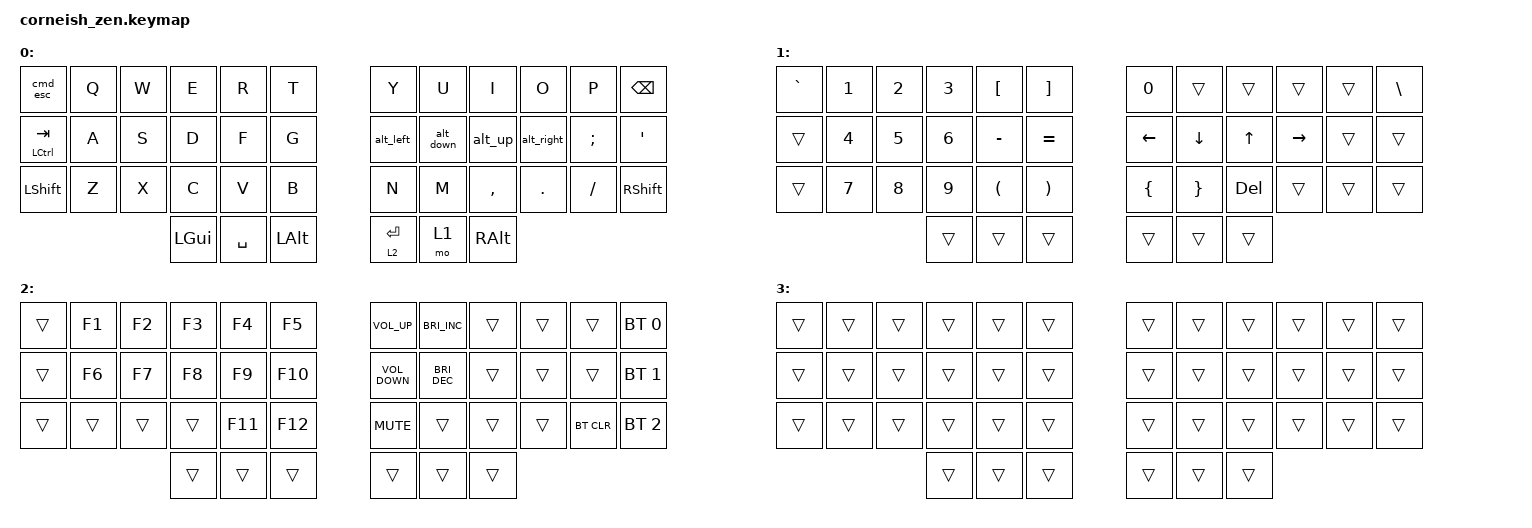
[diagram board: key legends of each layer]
/*
 * Copyright (c) 2020 The ZMK Contributors
 *
 * SPDX-License-Identifier: MIT
 */

#include <behaviors.dtsi>
#include <dt-bindings/zmk/bt.h>
#include <dt-bindings/zmk/keys.h>

/ {
    chosen {
        zmk,matrix_transform = &default_transform;

        // zmk,matrix_transform = &five_column_transform;
    };
};

/ {
    behaviors {
        alt_left: alt_left {
            compatible = "zmk,behavior-mod-morph";
            label = "ALT_LEFT";
            bindings = <&kp H>, <&kp LEFT>;

            #binding-cells = <0>;
            mods = <(MOD_RALT)>;
            keep-mods = <(MOD_RALT)>;
        };

        alt_right: alt_right {
            compatible = "zmk,behavior-mod-morph";
            label = "ALT_RIGHT";
            bindings = <&kp L>, <&kp RIGHT>;

            #binding-cells = <0>;
            mods = <(MOD_RALT)>;
            keep-mods = <(MOD_RALT)>;
        };

        alt_down: alt_down {
            compatible = "zmk,behavior-mod-morph";
            label = "ALT_DOWN";
            bindings = <&kp J>, <&kp DOWN>;

            #binding-cells = <0>;
            mods = <(MOD_RALT)>;
            keep-mods = <(MOD_RALT)>;
        };

        alt_up: alt_up {
            compatible = "zmk,behavior-mod-morph";
            label = "ALT_UP";
            bindings = <&kp K>, <&kp UP_ARROW>;

            #binding-cells = <0>;
            mods = <(MOD_RALT)>;
            keep-mods = <(MOD_RALT)>;
        };

        cmd_esc: cmd_esc {
            compatible = "zmk,behavior-mod-morph";
            label = "CMD_ESC";
            bindings = <&kp ESCAPE>, <&kp GRAVE>;

            #binding-cells = <0>;
            mods = <(MOD_LGUI)>;
            keep-mods = <(MOD_LGUI)>;
        };
    };

    keymap {
        compatible = "zmk,keymap";

        default_layer {
            display-name = " ";

            // -----------------------------------------------------------------------------------------
            // |  TAB |  Q  |  W  |  E  |  R  |  T  |   |  Y  |  U   |  I  |  O  |  P  | BKSP |
            // | CTRL |  A  |  S  |  D  |  F  |  G  |   |  H  |  J   |  K  |  L  |  ;  |  '   |
            // | SHFT |  Z  |  X  |  C  |  V  |  B  |   |  N  |  M   |  ,  |  .  |  /  | ESC  |
            //                    | GUI | LWR | SPC |   | ENT | RSE  | ALT |

            bindings = <
&cmd_esc       &kp Q  &kp W  &kp E     &kp R      &kp T           &kp Y        &kp U      &kp I      &kp O       &kp P     &kp BSPC
&mt LCTRL TAB  &kp A  &kp S  &kp D     &kp F      &kp G           &alt_left    &alt_down  &alt_up    &alt_right  &kp SEMI  &kp SQT
&kp LSHFT      &kp Z  &kp X  &kp C     &kp V      &kp B           &kp N        &kp M      &kp COMMA  &kp DOT     &kp FSLH  &kp RIGHT_SHIFT
                             &kp LGUI  &kp SPACE  &kp LEFT_ALT    &lt 2 ENTER  &mo 1      &kp RALT
            >;
        };

        lower_layer {
            display-name = " ";

            // -----------------------------------------------------------------------------------------
            // |  TAB |  1  |  2  |  3  |  4  |  5  |   |  6  |  7  |  8  |  9  |  0  | BKSP |
            // | BTCLR| BT1 | BT2 | BT3 | BT4 | BT5 |   | LFT | DWN |  UP | RGT |     |      |
            // | SHFT |     |     |     |     |     |   |     |     |     |     |     |      |
            //                    | GUI |     | SPC |   | ENT |     | ALT |

            bindings = <
&kp GRAVE  &kp N1  &kp N2  &kp N3  &kp LEFT_BRACKET      &kp RIGHT_BRACKET        &kp N0    &trans    &trans      &trans     &trans  &kp BACKSLASH
&trans     &kp N4  &kp N5  &kp N6  &kp MINUS             &kp EQUAL                &kp LEFT  &kp DOWN  &kp UP      &kp RIGHT  &trans  &trans
&trans     &kp N7  &kp N8  &kp N9  &kp LEFT_PARENTHESIS  &kp RIGHT_PARENTHESIS    &kp LBRC  &kp RBRC  &kp DELETE  &trans     &trans  &trans
                           &trans  &trans                &trans                   &trans    &trans    &trans
            >;
        };

        raise_layer {
            display-name = " ";

            // -----------------------------------------------------------------------------------------
            // |  TAB |  !  |  @  |  #  |  $  |  %  |   |  ^  |  &  |  *  |  (  |  )  | BKSP |
            // | CTRL |     |     |     |     |     |   |  -  |  =  |  [  |  ]  |  \  |  `   |
            // | SHFT |     |     |     |     |     |   |  _  |  +  |  {  |  }  | "|" |  ~   |
            //                    | GUI |     | SPC |   | ENT |     | ALT |

            bindings = <
&trans  &kp F1  &kp F2  &kp F3  &kp F4   &kp F5     &kp C_VOLUME_UP    &kp C_BRIGHTNESS_INC  &trans  &trans  &trans      &bt BT_SEL 0
&trans  &kp F6  &kp F7  &kp F8  &kp F9   &kp F10    &kp C_VOLUME_DOWN  &kp C_BRIGHTNESS_DEC  &trans  &trans  &trans      &bt BT_SEL 1
&trans  &trans  &trans  &trans  &kp F11  &kp F12    &kp K_MUTE         &trans                &trans  &trans  &bt BT_CLR  &bt BT_SEL 2
                        &trans  &trans   &trans     &trans             &trans                &trans
            >;
        };

        layer_3 {
            display-name = " ";
            bindings = <
&trans  &trans  &trans  &trans  &trans  &trans    &trans  &trans  &trans  &trans  &trans  &trans
&trans  &trans  &trans  &trans  &trans  &trans    &trans  &trans  &trans  &trans  &trans  &trans
&trans  &trans  &trans  &trans  &trans  &trans    &trans  &trans  &trans  &trans  &trans  &trans
                        &trans  &trans  &trans    &trans  &trans  &trans
            >;
        };
    };
};
